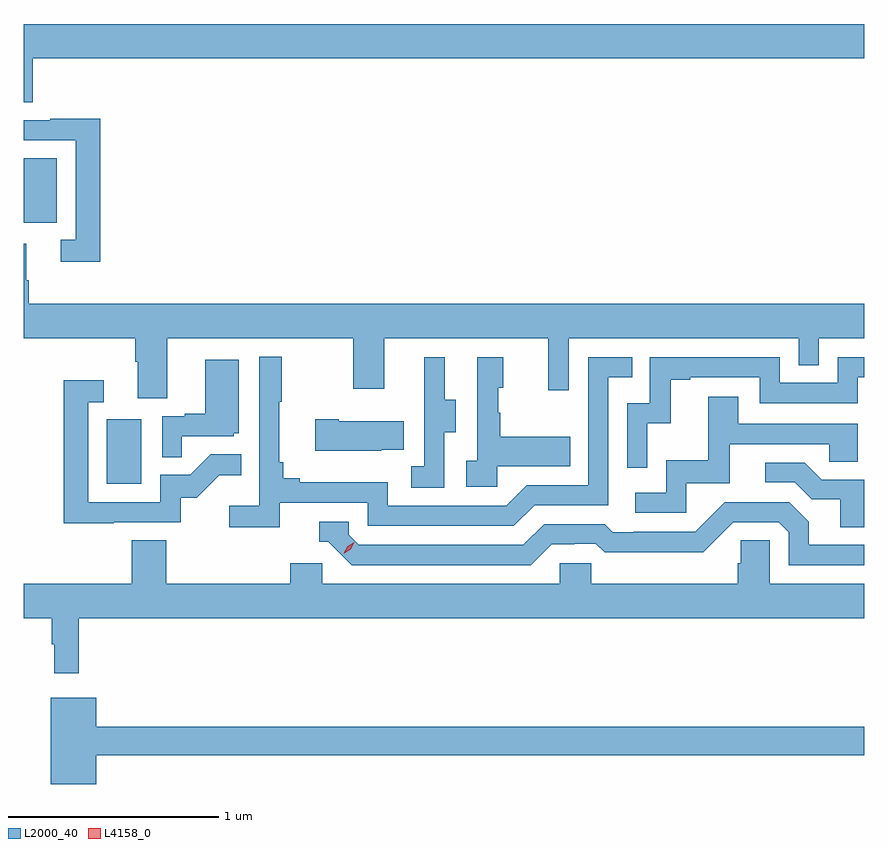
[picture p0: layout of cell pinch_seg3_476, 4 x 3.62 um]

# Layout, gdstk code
import gdstk
lib = gdstk.Library(unit=1e-6, precision=1e-09)
def R(c, l, rs):  # rectangles x0, y0, x1, y1
    for r in rs: c.add(gdstk.rectangle(r[:2], r[2:], *l))
def P(c, l, *ps):  # polygons
    for p in ps: c.add(gdstk.Polygon(p, *l))
L2000_40 = (2000, 40)
L4158_0 = (4158, 0)

pinch_seg3_476 = lib.new_cell('pinch_seg3_476')
R(pinch_seg3_476, L2000_40, [(935.882,672.252,936.046,672.559), (935.486,673.494,935.644,673.801)])
P(pinch_seg3_476, L2000_40, [(935.528,674.276),(939.486,674.276),(939.486,674.44),(935.486,674.44),(935.486,674.068),(935.528,674.068)],
  [(935.849,673.988),(935.611,673.988),(935.611,673.983),(935.486,673.983),(935.486,673.887),(935.733,673.887),(935.733,673.413),(935.661,673.413),(935.661,673.308),(935.849,673.308)],
  [(936.169,672.944),(937.054,672.944),(937.054,672.705),(937.201,672.705),(937.201,672.944),(937.982,672.944),(937.982,672.696),(938.079,672.696),(938.079,672.944),(939.174,672.944),(939.174,672.817),(939.27,672.817),(939.27,672.944),(939.486,672.944),(939.486,673.108),(935.51,673.108),(935.51,673.22),(935.497,673.22),(935.497,673.394),(935.486,673.394),(935.486,672.944),(936.017,672.944),(936.017,672.832),(936.029,672.832),(936.029,672.658),(936.169,672.658)],
  [(936.704,672.162),(937.122,672.162),(937.122,672.051),(937.819,672.051),(937.918,672.15),(938.268,672.15),(938.268,672.759),(938.381,672.759),(938.381,672.855),(938.172,672.855),(938.172,672.246),(937.881,672.246),(937.782,672.147),(937.218,672.147),(937.218,672.259),(936.799,672.259),(936.799,672.278),(936.722,672.278),(936.722,672.355),(936.703,672.355),(936.703,672.643),(936.715,672.643),(936.715,672.856),(936.606,672.856),(936.606,672.148),(936.465,672.148),(936.465,672.046),(936.704,672.046)],
  [(938.454,672.539),(938.564,672.539),(938.564,672.747),(938.659,672.747),(938.659,672.759),(938.988,672.759),(938.988,672.636),(939.456,672.636),(939.456,672.759),(939.486,672.759),(939.486,672.855),(939.36,672.855),(939.36,672.732),(939.084,672.732),(939.084,672.855),(938.466,672.855),(938.466,672.636),(938.358,672.636),(938.358,672.327),(938.454,672.327)],
  [(937.74,672.335),(938.087,672.335),(938.087,672.475),(937.753,672.475),(937.753,672.59),(937.743,672.59),(937.743,672.708),(937.768,672.708),(937.768,672.853),(937.644,672.853),(937.644,672.362),(937.593,672.362),(937.593,672.237),(937.74,672.237)],
  [(937.488,672.496),(937.543,672.496),(937.543,672.651),(937.489,672.651),(937.489,672.853),(937.391,672.853),(937.391,672.639),(937.392,672.639),(937.392,672.335),(937.329,672.335),(937.329,672.232),(937.488,672.232)],
  [(936.239,672.477),(936.486,672.477),(936.486,672.492),(936.508,672.492),(936.508,672.841),(936.35,672.841),(936.35,672.586),(936.251,672.586),(936.251,672.573),(936.144,672.573),(936.144,672.379),(936.239,672.379)],
  [(935.915,672.069),(936.234,672.069),(936.234,672.186),(936.31,672.186),(936.417,672.293),(936.521,672.293),(936.521,672.392),(936.377,672.392),(936.279,672.294),(936.135,672.294),(936.135,672.165),(935.793,672.165),(935.793,672.639),(935.866,672.639),(935.866,672.745),(935.677,672.745),(935.677,672.064),(935.915,672.064)],
  [(938.64,672.255),(938.845,672.255),(938.845,672.441),(939.319,672.441),(939.319,672.357),(939.456,672.357),(939.456,672.537),(938.887,672.537),(938.887,672.667),(938.743,672.667),(938.743,672.364),(938.544,672.364),(938.544,672.21),(938.397,672.21),(938.397,672.114),(938.64,672.114)],
  [(937.187,672.413),(937.295,672.413),(937.295,672.55),(936.985,672.55),(936.985,672.558),(936.873,672.558),(936.873,672.41),(937.187,672.41)],
  [(939.486,672.27),(939.283,672.27),(939.202,672.351),(939.015,672.351),(939.015,672.258),(939.156,672.258),(939.236,672.178),(939.371,672.178),(939.371,672.046),(939.486,672.046)],
  [(937.999,671.964),(938.106,671.964),(938.106,671.967),(938.209,671.967),(938.251,671.925),(938.484,671.925),(938.484,671.927),(938.72,671.927),(938.862,672.069),(939.078,672.069),(939.126,672.021),(939.126,671.865),(939.486,671.865),(939.486,671.961),(939.223,671.961),(939.223,672.071),(939.129,672.165),(938.823,672.165),(938.682,672.024),(938.389,672.024),(938.389,672.021),(938.29,672.021),(938.251,672.06),(937.962,672.06),(937.863,671.961),(937.08,671.961),(937.032,672.009),(937.032,672.072),(936.893,672.072),(936.893,671.976),(936.936,671.976),(937.047,671.865),(937.9,671.865)],
  [(935.747,671.612),(939.486,671.612),(939.486,671.776),(939.036,671.776),(939.036,671.984),(938.899,671.984),(938.899,671.874),(938.885,671.874),(938.885,671.776),(938.187,671.776),(938.187,671.874),(938.037,671.874),(938.037,671.776),(936.906,671.776),(936.906,671.874),(936.755,671.874),(936.755,671.776),(936.164,671.776),(936.164,671.984),(935.999,671.984),(935.999,671.776),(935.486,671.776),(935.486,671.612),(935.619,671.612),(935.619,671.489),(935.63,671.489),(935.63,671.349),(935.747,671.349)],
  [(935.83,670.96),(939.486,670.96),(939.486,671.096),(935.83,671.096),(935.83,671.233),(935.615,671.233),(935.615,670.823),(935.83,670.823)])
P(pinch_seg3_476, L4158_0, [(937.01,671.921),(937.01,671.921),(937.027,671.954),(937.058,671.974),(937.058,671.974),(937.058,671.973),(937.042,671.941),(937.011,671.921)])

lib.write_gds('pinch_seg3_476.gds')
